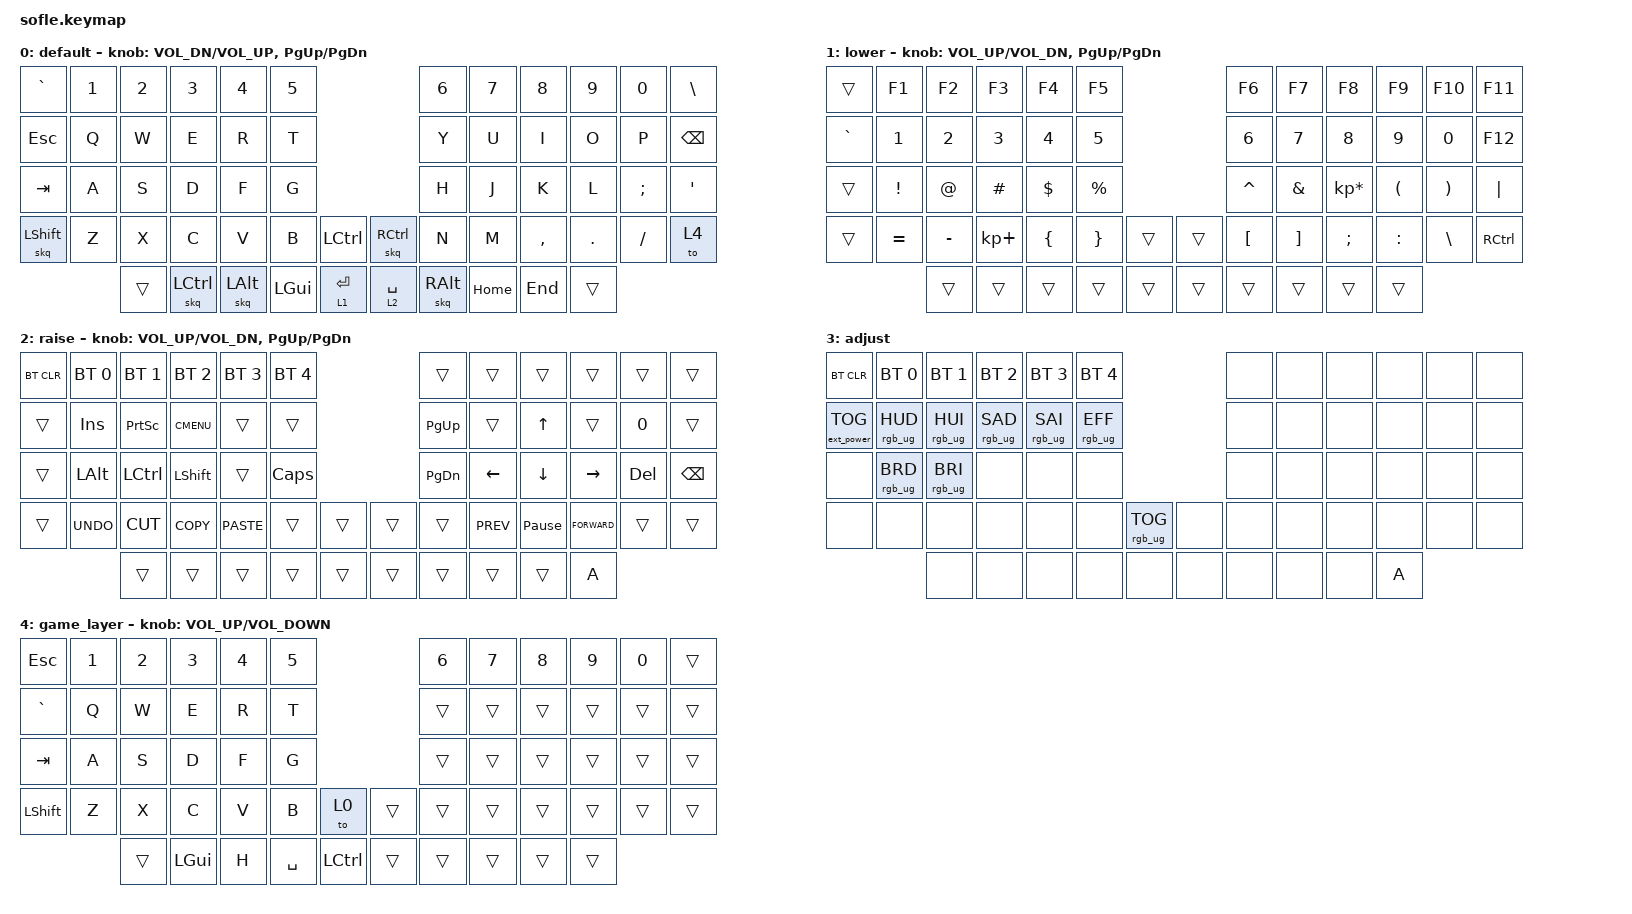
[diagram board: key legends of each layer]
/*
 * Copyright (c) 2020 The ZMK Contributors
 *
 * SPDX-License-Identifier: MIT
 */

#include <behaviors.dtsi>
#include <dt-bindings/zmk/bt.h>
#include <dt-bindings/zmk/ext_power.h>
#include <dt-bindings/zmk/keys.h>
#include <dt-bindings/zmk/rgb.h>

#define BASE 0
#define LOWER 1
#define RAISE 2
#define ADJUST 3

/ {
    // Activate ADJUST layer by pressing raise and lower

    conditional_layers {
        compatible = "zmk,conditional-layers";

        adjust_layer {
            if-layers = <LOWER RAISE>;
            then-layer = <ADJUST>;
        };
    };

    behaviors {
        skq: sticky_key_quick_release {
            compatible = "zmk,behavior-sticky-key";
            #binding-cells = <1>;
            bindings = <&kp>;
            release-after-ms = <1000>;
            quick-release;
            ignore-modifiers;
        };
    };

    keymap {
        compatible = "zmk,keymap";

        default_layer {
            label = "default";

            // ------------------------------------------------------------------------------------------------------------
            // |   `   |  1  |  2  |  3   |  4   |  5   |                   |  6   |  7    |  8    |  9   |   0   |       |
            // |  ESC  |  Q  |  W  |  E   |  R   |  T   |                   |  Y   |  U    |  I    |  O   |   P   | BKSPC |
            // |  TAB  |  A  |  S  |  D   |  F   |  G   |                   |  H   |  J    |  K    |  L   |   ;   |   '   |
            // | SHIFT |  Z  |  X  |  C   |  V   |  B   |  MUTE  |  |       |  N   |  M    |  ,    |  .   |   /   | SHIFT |
            //               | GUI | ALT  | CTRL | LOWER|  ENTER |  | SPACE | RAISE| CTRL  | ALT   | GUI  |

            bindings = <
&kp GRAVE        &kp N1  &kp N2  &kp N3      &kp N4         &kp N5                                    &kp N6          &kp N7    &kp N8     &kp N9   &kp N0     &kp BACKSLASH
&kp ESCAPE       &kp Q   &kp W   &kp E       &kp R          &kp T                                     &kp Y           &kp U     &kp I      &kp O    &kp P      &kp BACKSPACE
&kp TAB          &kp A   &kp S   &kp D       &kp F          &kp G                                     &kp H           &kp J     &kp K      &kp L    &kp SEMI   &kp APOSTROPHE
&skq LEFT_SHIFT  &kp Z   &kp X   &kp C       &kp V          &kp B         &kp LCTRL      &skq RCTRL   &kp N           &kp M     &kp COMMA  &kp DOT  &kp SLASH  &to 4
                         &trans  &skq LCTRL  &skq LEFT_ALT  &kp LEFT_GUI  &lt 1 ENTER    &lt 2 SPACE  &skq RIGHT_ALT  &kp HOME  &kp END    &trans
            >;

            sensor-bindings =
                <&inc_dec_kp C_VOL_DN C_VOL_UP>,
                <&inc_dec_kp PG_UP PG_DN>;
        };

        lower_layer {
            label = "lower";

            // TODO: Some binds are waiting for shifted keycode support.
            // ------------------------------------------------------------------------------------------------------------
            // |       |  F1 |  F2 |  F3  |  F4  |  F5  |                   |  F6  |  F7   |  F8   |  F9  |  F10  |  F11  |
            // |   `   |  1  |  2  |  3   |  4   |  5   |                   |  6   |  7    |  8    |  9   |   0   |  F12  |
            // |       |  !  |  @  |  #   |  $   |  %   |                   |  ^   |  &    |  *    |  (   |   )   |   |   |
            // |       |  =  |  -  |  +   |  {   |  }   |        |  |       |  [   |  ]    |  ;    |  :   |   \   |       |
            //               |     |      |      |      |        |  |       |      |       |       |      |

            bindings = <
&trans     &kp F1     &kp F2     &kp F3       &kp F4    &kp F5                       &kp F6            &kp F7             &kp F8           &kp F9     &kp F10        &kp F11
&kp GRAVE  &kp N1     &kp N2     &kp N3       &kp N4    &kp N5                       &kp N6            &kp N7             &kp N8           &kp N9     &kp N0         &kp F12
&trans     &kp EXCL   &kp AT     &kp HASH     &kp DLLR  &kp PRCNT                    &kp CARET         &kp AMPS           &kp KP_MULTIPLY  &kp LPAR   &kp RPAR       &kp PIPE
&trans     &kp EQUAL  &kp MINUS  &kp KP_PLUS  &kp LBRC  &kp RBRC   &trans    &trans  &kp LEFT_BRACKET  &kp RIGHT_BRACKET  &kp SEMI         &kp COLON  &kp BACKSLASH  &kp RCTRL
                      &trans     &trans       &trans    &trans     &trans    &trans  &trans            &trans             &trans           &trans
            >;

            sensor-bindings = <&inc_dec_kp C_VOL_UP C_VOL_DN &inc_dec_kp PG_UP PG_DN>;
        };

        raise_layer {
            label = "raise";

            // ------------------------------------------------------------------------------------------------------------
            // | BTCLR | BT1  | BT2  |  BT3  |  BT4  |  BT5 |                |      |      |       |      |       |       |
            // |       | INS  | PSCR | GUI   |       |      |                | PGUP |      |   ^   |      |       |       |
            // |       | ALT  | CTRL | SHIFT |       | CAPS |                | PGDN |   <- |   v   |  ->  |  DEL  | BKSPC |
            // |       | UNDO | CUT  | COPY  | PASTE |      |      |  |      |      |      |       |      |       |       |
            //                |      |       |       |      |      |  |      |      |      |       |      |

            bindings = <
&bt BT_CLR  &bt BT_SEL 0  &bt BT_SEL 1  &bt BT_SEL 2  &bt BT_SEL 3  &bt BT_SEL 4                    &trans     &trans      &trans           &trans         &trans   &trans
&trans      &kp INS       &kp PSCRN     &kp K_CMENU   &trans        &trans                          &kp PG_UP  &trans      &kp UP           &trans         &kp N0   &trans
&trans      &kp LALT      &kp LCTRL     &kp LSHFT     &trans        &kp CLCK                        &kp PG_DN  &kp LEFT    &kp DOWN         &kp RIGHT      &kp DEL  &kp BSPC
&trans      &kp K_UNDO    &kp K_CUT     &kp K_COPY    &kp K_PASTE   &trans        &trans    &trans  &trans     &kp K_PREV  &kp PAUSE_BREAK  &kp K_FORWARD  &trans   &trans
                          &trans        &trans        &trans        &trans        &trans    &trans  &trans     &trans      &trans           &kp A
            >;

            sensor-bindings = <&inc_dec_kp C_VOL_UP C_VOL_DN &inc_dec_kp PG_UP PG_DN>;
        };

        adjust_layer {
            // ----------------------------------------------------------------------------------------------------------------------------
            // | BTCLR  |  BT1    |  BT2    |   BT3   |   BT4   |   BT5   |                  |      |      |       |      |       |       |
            // | EXTPWR | RGB_HUD | RGB_HUI | RGB_SAD | RGB_SAI | RGB_EFF |                  |      |      |       |      |       |       |
            // |        | RGB_BRD | RGB_BRI |         |         |         |                  |      |      |       |      |       |       |
            // |        |         |         |         |         |         | RGB_TOG | |      |      |      |       |      |       |       |
            //                    |         |         |         |         |         | |      |      |      |       |      |

            label = "adjust";
            bindings = <
&bt BT_CLR         &bt BT_SEL 0     &bt BT_SEL 1     &bt BT_SEL 2     &bt BT_SEL 3     &bt BT_SEL 4                               &none  &none  &none  &none  &none  &none
&ext_power EP_TOG  &rgb_ug RGB_HUD  &rgb_ug RGB_HUI  &rgb_ug RGB_SAD  &rgb_ug RGB_SAI  &rgb_ug RGB_EFF                            &none  &none  &none  &none  &none  &none
&none              &rgb_ug RGB_BRD  &rgb_ug RGB_BRI  &none            &none            &none                                      &none  &none  &none  &none  &none  &none
&none              &none            &none            &none            &none            &none            &rgb_ug RGB_TOG    &none  &none  &none  &none  &none  &none  &none
                                    &none            &none            &none            &none            &none              &none  &none  &none  &none  &kp A
            >;
        };

        game_layer {
            bindings = <
&kp ESCAPE  &kp N1  &kp N2  &kp N3        &kp N4  &kp N5                          &kp N6  &kp N7  &kp N8  &kp N9  &kp N0  &trans
&kp GRAVE   &kp Q   &kp W   &kp E         &kp R   &kp T                           &trans  &trans  &trans  &trans  &trans  &trans
&kp TAB     &kp A   &kp S   &kp D         &kp F   &kp G                           &trans  &trans  &trans  &trans  &trans  &trans
&kp LSHFT   &kp Z   &kp X   &kp C         &kp V   &kp B      &to 0        &trans  &trans  &trans  &trans  &trans  &trans  &trans
                    &trans  &kp LEFT_GUI  &kp H   &kp SPACE  &kp LCTRL    &trans  &trans  &trans  &trans  &trans
            >;

            sensor-bindings = <&inc_dec_kp C_VOLUME_UP C_VOLUME_DOWN>;
        };
    };
};
